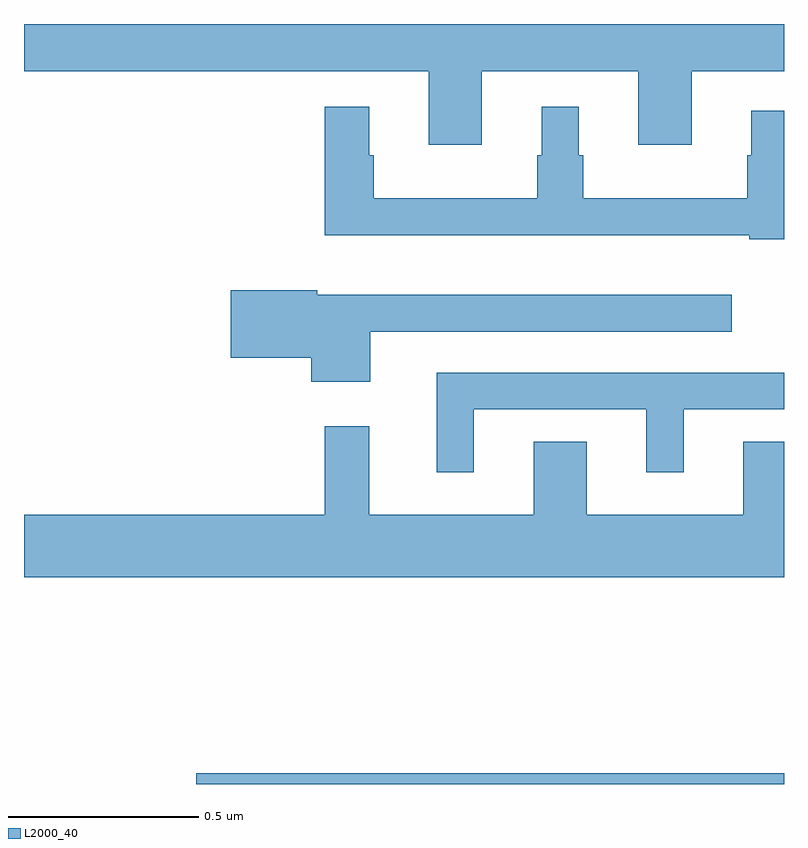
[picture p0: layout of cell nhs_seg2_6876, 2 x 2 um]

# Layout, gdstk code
import gdstk
lib = gdstk.Library(unit=1e-6, precision=1e-09)
def R(c, l, rs):  # rectangles x0, y0, x1, y1
    for r in rs: c.add(gdstk.rectangle(r[:2], r[2:], *l))
def P(c, l, *ps):  # polygons
    for p in ps: c.add(gdstk.Polygon(p, *l))
L2000_40 = (2000, 40)

nhs_seg2_6876 = lib.new_cell('nhs_seg2_6876')
R(nhs_seg2_6876, L2000_40, [(197.453,605.8,199,605.828)])
P(nhs_seg2_6876, L2000_40, [(198.205,607.676),(198.617,607.676),(198.617,607.482),(198.757,607.482),(198.757,607.676),(199,607.676),(199,607.8),(197,607.8),(197,607.676),(198.065,607.676),(198.065,607.482),(198.205,607.482)],
  [(199,607.572),(198.914,607.572),(198.914,607.454),(198.903,607.454),(198.903,607.342),(198.472,607.342),(198.472,607.454),(198.46,607.454),(198.46,607.582),(198.362,607.582),(198.362,607.454),(198.351,607.454),(198.351,607.342),(197.92,607.342),(197.92,607.454),(197.908,607.454),(197.908,607.582),(197.791,607.582),(197.791,607.244),(198.908,607.244),(198.908,607.233),(199,607.233)],
  [(197.911,606.99),(198.862,606.99),(198.862,607.087),(197.772,607.087),(197.772,607.1),(197.544,607.1),(197.544,606.922),(197.756,606.922),(197.756,606.858),(197.911,606.858)],
  [(198.184,606.786),(198.638,606.786),(198.638,606.621),(198.736,606.621),(198.736,606.786),(199,606.786),(199,606.882),(198.086,606.882),(198.086,606.621),(198.184,606.621)],
  [(199,606.701),(198.893,606.701),(198.893,606.508),(198.481,606.508),(198.481,606.701),(198.341,606.701),(198.341,606.508),(197.909,606.508),(197.909,606.742),(197.791,606.742),(197.791,606.508),(197,606.508),(197,606.344),(199,606.344)])

lib.write_gds('nhs_seg2_6876.gds')
